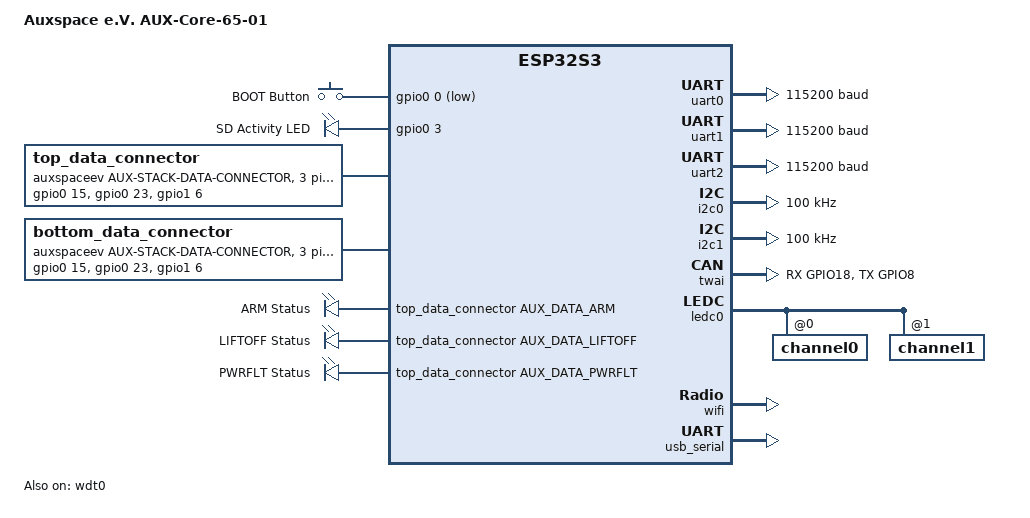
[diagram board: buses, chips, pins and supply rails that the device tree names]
/*
 * Copyright (c) 2025-2026 Auxspace e.V.
 *
 * SPDX-License-Identifier: Apache-2.0
 *
 * AUX-Stack-Core hardware:
 *   - Native SDHC SD card (espressif,esp32-sdhc slot, 4-bit) instead of the
 *     rev.1 SPI-attached card.
 *   - Updated barometer to the Bosch BMP581.
 *   - Separate Remove Before Flight Pin.
 *   - Extra Status LEDs
 *   - USB-C
 */

#include <zephyr/dt-bindings/adc/adc.h>
#include <zephyr/dt-bindings/input/input-event-codes.h>
#include <zephyr/dt-bindings/input/esp32-touch-sensor-input.h>
#include <zephyr/dt-bindings/pwm/pwm.h>
#include <zephyr/dt-bindings/sensor/lsm6dso.h>
#include <zephyr/dt-bindings/sensor/adxl367.h>
#include <auxspace/dt-bindings/gpio/auxspaceev-aux-stack-data-connector.h>

/ {

	model = "Auxspace e.V. AUX-Core-65-01";
	compatible = "espressif,esp32s3";

	aliases {
		i2c-0 = &i2c0;
		i2c-1 = &i2c1;
		watchdog0 = &wdt0;
		uart-0 = &uart0;
		sw0 = &button0;
	};

	chosen {
		zephyr,sram = &sram1;
		zephyr,console = &usb_serial;
		zephyr,shell-uart = &usb_serial;
		zephyr,flash = &flash0;
		zephyr,code-partition = &slot0_partition;
		zephyr,bt-hci = &esp32_bt_hci;
	};

	buttons: buttons {
	compatible = "gpio-keys";

		button0: button_0 {
			gpios = <&gpio0 0 (GPIO_PULL_UP | GPIO_ACTIVE_LOW)>;
			label = "BOOT Button";
			zephyr,code = <INPUT_KEY_0>;
		};
	};

	buzzer0: buzzer_0 {
		compatible = "auxspaceev,pwm-buzzer";
		pwms = <&ledc0 0 PWM_MSEC(200) PWM_POLARITY_NORMAL>;
		status = "disabled";
	};

	pwmleds: pwmleds {
		compatible = "pwm-leds";
		status = "disabled";

		red_pwm_led: led_pwm_0 {
			pwms = <&ledc0 1 PWM_MSEC(20) PWM_POLARITY_NORMAL>;
			label = "RED Notifier LED";
		};
	};

	status_leds: status-leds {
		compatible = "gpio-leds";

		sd_activity_led: led_sd {
			gpios = <&gpio0 3 GPIO_ACTIVE_HIGH>;
			label = "SD Activity LED";
		};
	};

	top_data_connector: connector_0 {
		compatible = "auxspaceev,aux-stack-data-connector";
		#gpio-cells = <2>;
		gpio-map-mask = <0xffffffff 0xffffffc0>;
		gpio-map-pass-thru = <0 0x3f>;
		gpio-map = <AUX_DATA_ARM 0 &gpio0 15 0>,
			   <AUX_DATA_LIFTOFF 0 &gpio0 23 0>,
			   <AUX_DATA_PWRFLT 0 &gpio1 6 0>;

		can-bus = <&twai>;
		i2c-bus = <&i2c1>;
		uart-bus = <&uart1>;
	};

	bottom_data_connector: connector_1 {
		compatible = "auxspaceev,aux-stack-data-connector";
		#gpio-cells = <2>;
		gpio-map-mask = <0xffffffff 0xffffffc0>;
		gpio-map-pass-thru = <0 0x3f>;
		gpio-map = <AUX_DATA_ARM 0 &gpio0 15 0>,
			   <AUX_DATA_LIFTOFF 0 &gpio0 23 0>,
			   <AUX_DATA_PWRFLT 0 &gpio1 6 0>;

		can-bus = <&twai>;
		i2c-bus = <&i2c1>;
		uart-bus = <&uart2>;
	};

	status_signals: status-signals {
		compatible = "gpio-leds";

		arm_status: arm0 {
			gpios = <&top_data_connector AUX_DATA_ARM GPIO_ACTIVE_HIGH>;
			label = "ARM Status";
		};

		liftoff_status: liftoff0 {
			gpios = <&top_data_connector AUX_DATA_LIFTOFF GPIO_ACTIVE_HIGH>;
			label = "LIFTOFF Status";
		};

		pwrflt_status: pwrflt0 {
			gpios = <&top_data_connector AUX_DATA_PWRFLT GPIO_ACTIVE_HIGH>;
			label = "PWRFLT Status";
		};
	};

};

&pinctrl {
	sdmmc_default: sdmmc_default {
		group1 {
			pinmux = <SDHC0_CLKOUT_GPIO6>,
				 <SDHC0_CMD_GPIO39>,
				 <SDHC0_DATA0_GPIO5>,
				 <SDHC0_DATA1_GPIO4>,
				 <SDHC0_DATA2_GPIO42>,
				 <SDHC0_DATA3_GPIO41>;
			bias-pull-up;
		};
	};

	twai_default: twai_default {
		group1 {
			pinmux = <TWAI_RX_GPIO18>,
				 <TWAI_TX_GPIO8>;
		};
	};
};

&uart0 {
	current-speed = <115200>;
	pinctrl-0 = <&uart0_default>;
	pinctrl-names = "default";
};

aux_data_uart_top: &uart1 {
	current-speed = <115200>;
	pinctrl-0 = <&uart1_default>;
	pinctrl-names = "default";
};

aux_data_uart_bottom: &uart2 {
	current-speed = <115200>;
	pinctrl-0 = <&uart2_default>;
	pinctrl-names = "default";
};

&touch {
	debounce-interval-ms = <30>;
	href-microvolt = <2700000>;
	lref-microvolt = <500000>;
	href-atten-microvolt = <1000000>;
	filter-mode = <ESP32_TOUCH_FILTER_MODE_IIR_16>;
	filter-debounce-cnt = <1>;
	filter-noise-thr = <ESP32_TOUCH_FILTER_NOISE_THR_4_8TH>;
	filter-jitter-step = <4>;
	filter-smooth-level = <ESP32_TOUCH_FILTER_SMOOTH_MODE_IIR_2>;
};

&i2c0 {
	clock-frequency = <I2C_BITRATE_STANDARD>;
	pinctrl-0 = <&i2c0_default>;
	pinctrl-names = "default";

	lsm6dso320: lsm6dso32@6b {
		compatible = "st,lsm6dso32";
		reg = <0x6b>;
		irq-gpios = <&gpio0 9 GPIO_ACTIVE_HIGH>;
		int-pin = <1>;
		status = "disabled";
	};

	dps310_0: dps310@76 {
		compatible = "infineon,dps310";
		// TODO: Check for Interrupt support
		reg = <0x76>;
		status = "disabled";
	};

	adxl367_0: adxl367@1d{
		compatible = "adi,adxl367";
		reg = <0x1d>;
		int1-gpios = <&gpio1 13 GPIO_ACTIVE_HIGH>;
		status = "disabled";
	};

	// TODO: Check if this supports the MLX90395
	mlx90394_0: mlx90394@0c {
		compatible = "melexis,mlx90394";
		// TODO: Check for Interrupt support
		reg = <0x0c>;
		status = "disabled";
	};


};

aux_data_i2c: &i2c1 {
	clock-frequency = <I2C_BITRATE_STANDARD>;
	pinctrl-0 = <&i2c1_default>;
	pinctrl-names = "default";
};

&i2s0 {
	pinctrl-0 = <&i2s0_default>;
	pinctrl-names = "default";
};

&i2s1 {
	pinctrl-0 = <&i2s1_default>;
	pinctrl-names = "default";
};

aux_data_can: &twai {
	pinctrl-0 = <&twai_default>;
	pinctrl-names = "default";
};

&ledc0 {
	#address-cells = <1>;
	#size-cells = <0>;
	status = "okay";
	pinctrl-0 = <&ledc0_default>;
	pinctrl-names = "default";

	channel0@0 {
		reg = <0x0>;
		timer = <0>;
	};

	channel1@1 {
		reg = <0x1>;
		timer = <1>;
	};
};

&wifi {
	status = "okay";
};

&wdt0 {
	status = "okay";
};


&sdhc0 {
	bus-width = <4>;
	pinctrl-0 = <&sdmmc_default>;
	pinctrl-names = "default";
	max-bus-freq = <40000000>;
	status = "disabled";

	mmc0: mmc_0 {
		compatible = "zephyr,sdmmc-disk";
		disk-name = "MMC";
		status = "disabled";
	};
};

&usb_serial {
	status = "okay";
};
